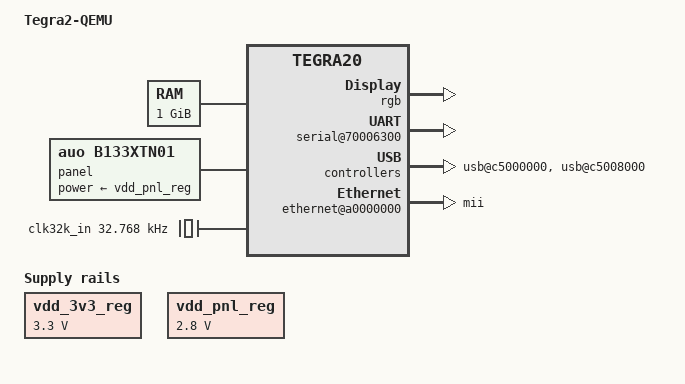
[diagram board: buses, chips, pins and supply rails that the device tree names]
/dts-v1/;

/memreserve/ 0x2E600000 0x11A00000;

#include <dt-bindings/input/input.h>
#include "tegra20.dtsi"

/ {
	model = "Tegra2-QEMU";
	compatible = "qemu,tegra20", "nvidia,tegra20";

	memory {
		reg = <0x00000000 0x40000000>;
	};

	aliases {
		rtc0 = "/rtc@7000e000";
		serial0 = &uartd;
	};

	nvmap {
		compatible = "nvidia,tegra-nvmap";
		#address-cells = <1>;
		#size-cells = <1>;
		ranges;

		carveouts {
			#address-cells = <1>;
			#size-cells = <1>;
			ranges;

			iram {
				reg = <0x40000400 0x3FC00>;
				reg-names = "iram";
				buddy-size = <0>;
				usage-mask = <0x20000000>;
			};

			generic {
				reg = <0x2E600000 0x10000000>;
				reg-names = "generic-0";
				buddy-size = <0x8000>;
				usage-mask = <0x1>;
			};
		};
	};

	host1x@50000000 {
		compatible = "nvidia,tegra20-host1x", "simple-bus", "nvhost-bus";
		ranges;

		mpe@54040000 {
			clock-names = "mpe";
		};

		gr3d@54180000 {
			clock-names = "gr3d";
		};

		gr2d@54140000 {
			clocks = <&tegra_car TEGRA20_CLK_GR2D>,
				 <&tegra_car TEGRA20_CLK_EPP>;
			clock-names = "gr2d", "epp";
		};

		epp@540c0000 {
			clock-names = "epp";
		};

		dc@54200000 {
			reg = <0x54200000 0x00040000>,
			      <0x3E600000 0x00900000>;
			reg-names = "regs", "fbmem";
			interrupt-names = "irq";

			pnl-vdd-supply = <&vdd_pnl_reg>;

			rgb {
				status = "okay";

				nvidia,panel = <&panel>;

				display {
					fb-win = <0>;
					fb-xres = <1280>;
					fb-yres = <800>;
					fb-bpp = <32>;

					dc-index = <0>;

					flags = <1>; /* TEGRA_DC_FLAG_ENABLED */

					type = <0>; /* TEGRA_DC_OUT_RGB */
					order = <0>; /* TEGRA_DC_ORDER_RED_BLUE */
					align = <0>; /* TEGRA_DC_ALIGN_MSB */
					depth = <18>;
					dither = <3>; /* TEGRA_DC_ERRDIFF_DITHER */

					default-emc-rate = <600000000>;
					min-emc-rate = <300000000>;

					display-timings {
						native-mode = <&timing0>;
						timing0: 1280x800 {
							clock-frequency = <70500000>;
							hactive = <1280>;
							vactive = <800>;
							hfront-porch = <58>;
							hback-porch = <4>;
							hsync-len = <58>;
							vsync-len = <4>;
							vfront-porch = <58>;
							vback-porch = <4>;
						};
					};
				};
			};
		};

		dc@54240000 {
			reg = <0x54240000 0x00040000>,
			      <0x54280000 0x00040000>,
			      <0x3EF00000 0x01000000>;
			reg-names = "regs", "hdmi_regs", "fbmem";
			clocks = <&tegra_car TEGRA20_CLK_DISP2>,
				 <&tegra_car TEGRA20_CLK_HDMI>,
				 <&tegra_car TEGRA20_CLK_PLL_D_OUT0>;
			clock-names = "dc", "hdmi", "parent";
			resets = <&tegra_car TEGRA20_CLK_DISP2>,
				 <&tegra_car TEGRA20_CLK_HDMI>;
			reset-names = "dc", "hdmi";
			interrupt-names = "irq";

			rgb {
				status = "disabled";

				display {
					fb-win = <0>;
					fb-xres = <1280>;
					fb-yres = <800>;
					fb-bpp = <32>;

					dc-index = <1>;

					type = <1>; /* TEGRA_DC_OUT_HDMI */
					order = <0>; /* TEGRA_DC_ORDER_RED_BLUE */
					align = <0>; /* TEGRA_DC_ALIGN_MSB */
					dc-flags = <0>; /* TEGRA_DC_OUT_HOTPLUG_HIGH */
					max-clock = <148500>;
				};
			};
		};
	};

	pmc@7000e400 {
		nvidia,invert-interrupt;
		nvidia,suspend-mode = <1>;
		nvidia,cpu-pwr-good-time = <2000>;
		nvidia,cpu-pwr-off-time = <100>;
		nvidia,core-pwr-good-time = <3845 3845>;
		nvidia,core-pwr-off-time = <458>;
		nvidia,sys-clock-req-active-high;
	};

	serial@70006300 {
		status = "okay";
	};

	panel: panel {
		compatible = "auo,b133xtn01", "simple-panel";

		power-supply = <&vdd_pnl_reg>;
	};

	clocks {
		compatible = "simple-bus";
		#address-cells = <1>;
		#size-cells = <0>;

		clk32k_in: clock@0 {
			compatible = "fixed-clock";
			reg=<0>;
			#clock-cells = <0>;
			clock-frequency = <32768>;
		};
	};

	sdhci@c8000600 {
		status = "disabled";
		bus-width = <4>;
		non-removable;
	};

	usb@c5000000 {
		status = "okay";
	};

	usb-phy@c5000000 {
		status = "okay";
	};

	usb@c5008000 {
		status = "okay";
	};

	usb-phy@c5008000 {
		status = "okay";
	};

	regulators {
		compatible = "simple-bus";
		#address-cells = <1>;
		#size-cells = <0>;

		vdd_3v3_reg: regulator@0 {
			compatible = "regulator-fixed";
			reg = <0>;
			regulator-name = "vdd_3v3";
			regulator-min-microvolt = <3300000>;
			regulator-max-microvolt = <3300000>;
			regulator-always-on;
		};

		vdd_pnl_reg: regulator@1 {
			compatible = "regulator-fixed";
			reg = <1>;
			regulator-name = "vdd_pnl";
			regulator-min-microvolt = <2800000>;
			regulator-max-microvolt = <2800000>;
		};
	};

	ethernet@a0000000 {
		compatible = "smsc,lan9118", "smsc,lan9115";
		reg = <0xa0000000 0x10000>;
		interrupts = <GIC_SPI 95 IRQ_TYPE_LEVEL_HIGH>;
		phy-mode = "mii";
		reg-io-width = <4>;
		smsc,irq-active-high;
		smsc,irq-push-pull;
		vdd33a-supply = <&vdd_3v3_reg>;
		vddvario-supply = <&vdd_3v3_reg>;
	};
};
